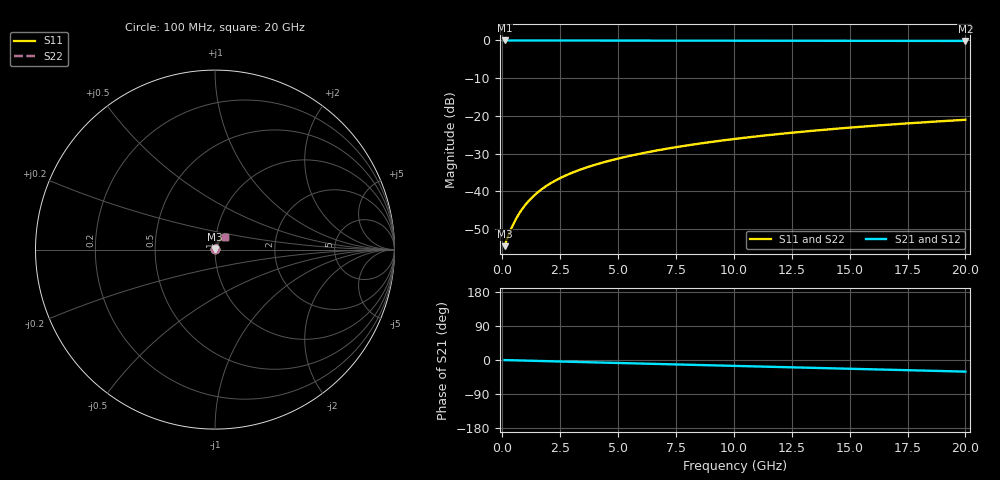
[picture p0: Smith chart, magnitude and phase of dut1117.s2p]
! Touchstone file exported from HFSS 2026.1.0
!  File:  C:/ffzhzh/LocalFiles/Ansys_Project_Files/temp_train_BSMRDL_1117_1783175062_43440.aedt
!  Generated:  10:25:34 PM Jul  4, 2026
!  Design:  BSMRDL
!  Project:  temp_train_BSMRDL_1117_1783175062_43440
! Variables:
!  h_bsmrdl = 5.97um
!  h_ox = 20um
!  h_rdl = 5um
!  h_sub = 80um
!  h_tmrdl = 5um
!  h_tsv = 80um
!  h_via = 3um
!  l_bsmrdl = 537.52um
!  l_sub = 937.52um
!  l_tmrdl = 200um
!  m_sub = 200um
!  pitch = 31.31um
!  r_tsv = 6um
!  s_tmrdl = 10um
!  w_bsmrdl = 22.65um
!  w_sub = 500um
!  w_tmrdl = 12um
!  x_tsv_center1 = 206um
!  x_tsv_center2 = 766.17um
!  x_tsv_center3 = 978.17um
!  x_tsv_center4 = 1538.34um
!  x_tsv_center5 = 1750.34um
!  x_tsv_center6 = 2310.51um
# GHz S MA R 50.000000
! Terminal data exported
! Port[1] = BSM_RDL1_1_T1
! Port[2] = BSM_RDL1_1_T2
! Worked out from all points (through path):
!   200 points, 100 MHz to 20 GHz, reference 50 ohm
!   highest |S21| = -0.01 dB at 100 MHz (marker M1); lowest = -0.1 dB at 20 GHz (marker M2)
!   group delay of S21, straight-line fit = 4.24 ps
!   lowest |S11| = -54.6 dB at 100 MHz (marker M3), VSWR 1.00, Z = 50.2 + j0.0885 ohm
!   |S11| at or under -10 dB: start of sweep to end of sweep
!   |S22| runs from -54.6 to -21.1 dB; largest |S21 - S12| = 3.1e-15
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0.1  0.001866 28.2  0.9984 -0.2  0.9984 -0.2  0.001866 28.2
! Gamma 0 0 0 0
! Port Impedance 50 0 50 0
0.2  0.002324 38.6  0.9981 -0.3  0.9981 -0.3  0.002315 38.5
0.3  0.002768 46.7  0.998 -0.5  0.998 -0.5  0.002758 46.8
0.5  0.003776 57.6  0.9977 -0.8  0.9977 -0.8  0.00377 57.8
0.6  0.004323 61.1  0.9976 -1.0  0.9976 -1.0  0.004319 61.2
0.7  0.004885 63.6  0.9976 -1.1  0.9976 -1.1  0.004883 63.8
0.9  0.006033 67.1  0.9975 -1.5  0.9975 -1.5  0.006035 67.2
1.1  0.007192 69.1  0.9973 -1.8  0.9973 -1.8  0.007196 69.2
1.3  0.008346 70.4  0.9972 -2.1  0.9972 -2.1  0.008352 70.4
1.7  0.01061 71.5  0.9969 -2.7  0.9969 -2.7  0.01062 71.6
2.2  0.01335 71.9  0.9965 -3.5  0.9965 -3.5  0.01335 71.9
2.8  0.01648 71.7  0.9959 -4.5  0.9959 -4.5  0.01649 71.7
3.5  0.01998 71.2  0.9953 -5.6  0.9953 -5.6  0.01998 71.2
4.2  0.02334 70.6  0.9946 -6.6  0.9946 -6.6  0.02334 70.6
5  0.02709 69.9  0.9939 -7.9  0.9939 -7.9  0.02709 69.9
5.9  0.03121 69.1  0.9932 -9.3  0.9932 -9.3  0.03121 69.1
6.8  0.03526 68.2  0.9925 -10.6  0.9925 -10.6  0.03525 68.2
8.3  0.04187 66.6  0.9915 -12.9  0.9915 -12.9  0.04186 66.6
10.1  0.04961 64.5  0.9903 -15.7  0.9903 -15.7  0.0496 64.6
13.4  0.06329 60.5  0.9882 -20.7  0.9882 -20.7  0.06328 60.6
16.7  0.0763 56.2  0.9862 -25.7  0.9862 -25.7  0.07629 56.3
20  0.08856 51.8  0.9842 -30.7  0.9842 -30.7  0.08854 51.9
